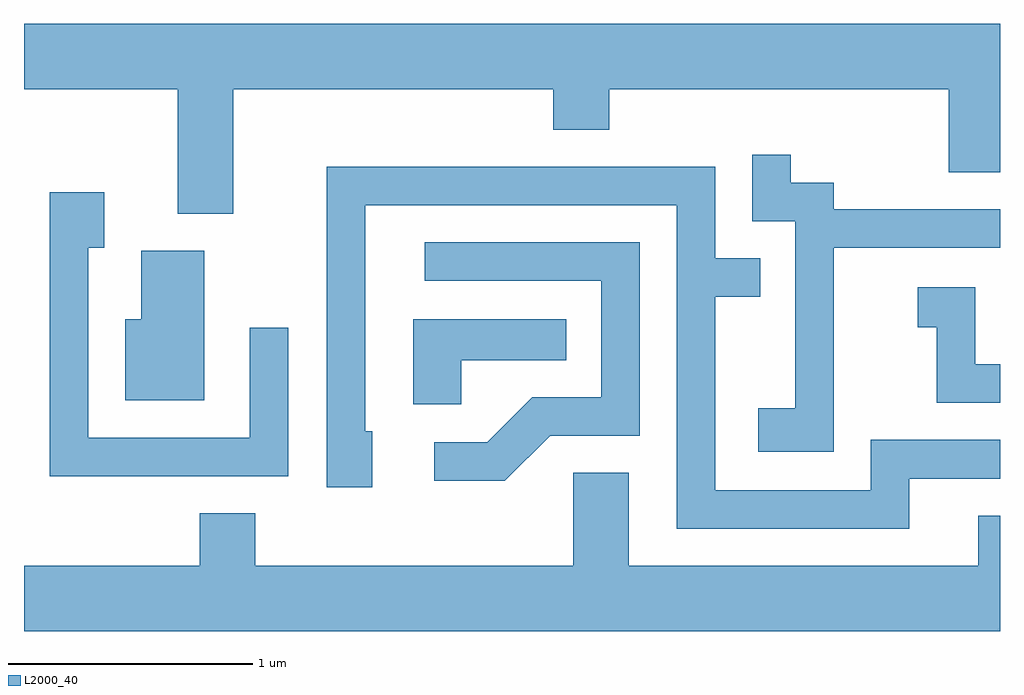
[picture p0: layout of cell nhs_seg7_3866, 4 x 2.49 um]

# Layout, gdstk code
import gdstk
lib = gdstk.Library(unit=1e-6, precision=1e-09)
def P(c, l, *ps):  # polygons
    for p in ps: c.add(gdstk.Polygon(p, *l))
L2000_40 = (2000, 40)

nhs_seg7_3866 = lib.new_cell('nhs_seg7_3866')
P(nhs_seg7_3866, L2000_40, [(304.469,1723.196),(305.781,1723.196),(305.781,1723.031),(306.009,1723.031),(306.009,1723.196),(307.401,1723.196),(307.401,1722.856),(307.611,1722.856),(307.611,1723.464),(303.611,1723.464),(303.611,1723.196),(304.241,1723.196),(304.241,1722.686),(304.469,1722.686)],
  [(306.929,1722.546),(307.611,1722.546),(307.611,1722.704),(306.929,1722.704),(306.929,1722.814),(306.754,1722.814),(306.754,1722.928),(306.596,1722.928),(306.596,1722.656),(306.771,1722.656),(306.771,1721.889),(306.621,1721.889),(306.621,1721.711),(306.929,1721.711)],
  [(307.239,1721.601),(307.611,1721.601),(307.611,1721.759),(307.081,1721.759),(307.081,1721.554),(306.444,1721.554),(306.444,1722.346),(306.628,1722.346),(306.628,1722.504),(306.444,1722.504),(306.444,1722.879),(304.851,1722.879),(304.851,1721.566),(305.039,1721.566),(305.039,1721.794),(305.009,1721.794),(305.009,1722.721),(306.286,1722.721),(306.286,1721.396),(307.239,1721.396)],
  [(304.694,1722.218),(304.536,1722.218),(304.536,1721.769),(303.874,1721.769),(303.874,1722.546),(303.939,1722.546),(303.939,1722.774),(303.716,1722.774),(303.716,1721.611),(304.694,1721.611)],
  [(305.767,1721.776),(306.134,1721.776),(306.134,1722.569),(305.253,1722.569),(305.253,1722.411),(305.976,1722.411),(305.976,1721.934),(305.694,1721.934),(305.509,1721.749),(305.293,1721.749),(305.293,1721.591),(305.582,1721.591)],
  [(304.349,1722.534),(304.091,1722.534),(304.091,1722.254),(304.026,1722.254),(304.026,1721.921),(304.349,1721.921)],
  [(307.611,1722.069),(307.509,1722.069),(307.509,1722.384),(307.273,1722.384),(307.273,1722.221),(307.351,1722.221),(307.351,1721.911),(307.611,1721.911)],
  [(305.404,1722.086),(305.833,1722.086),(305.833,1722.254),(305.206,1722.254),(305.206,1721.906),(305.404,1721.906)],
  [(307.611,1721.449),(307.521,1721.449),(307.521,1721.244),(306.089,1721.244),(306.089,1721.624),(305.861,1721.624),(305.861,1721.244),(304.559,1721.244),(304.559,1721.459),(304.331,1721.459),(304.331,1721.244),(303.611,1721.244),(303.611,1720.976),(307.611,1720.976)])

lib.write_gds('nhs_seg7_3866.gds')
